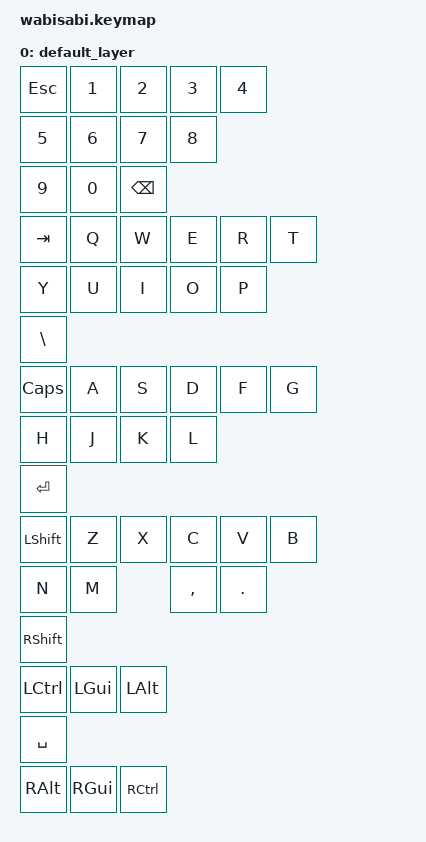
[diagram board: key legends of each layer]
// This file was generated from a template. Edit it to match your keyboard.
// See https://zmk.dev/docs/development/hardware-integration/new-shield for more instructions.

#include <behaviors.dtsi>
#include <dt-bindings/zmk/keys.h>

/ {
    keymap {
        compatible = "zmk,keymap";

        default_layer {
            bindings = <
                /* Row 0 */
                &kp ESC   &kp N1 &kp N2 &kp N3 &kp N4
                &kp N5    &kp N6 &kp N7 &kp N8
                &kp N9    &kp N0 &kp BSPC

                /* Row 1 */
                &kp TAB   &kp Q &kp W &kp E &kp R &kp T
                &kp Y     &kp U &kp I &kp O &kp P
                &kp BSLH

                /* Row 2 */
                &kp CAPS  &kp A &kp S &kp D &kp F &kp G
                &kp H     &kp J &kp K &kp L
                &kp ENTER

                /* Row 3 */
                &kp LSHIFT &kp Z &kp X &kp C &kp V &kp B
                &kp N     &kp M &kp COMMA &kp DOT
                &kp RSHIFT

                /* Row 4 */
                &kp LCTRL &kp LGUI &kp LALT
                &kp SPACE
                &kp RALT &kp RGUI &kp RCTRL
            >;
        };
    };
};
